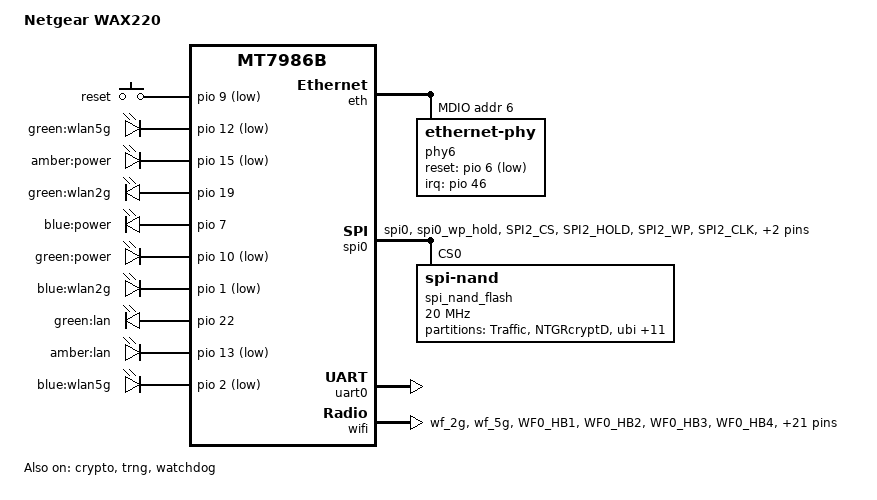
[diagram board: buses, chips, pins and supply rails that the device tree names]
// SPDX-License-Identifier: (GPL-2.0 OR MIT)

/dts-v1/;
#include <dt-bindings/input/input.h>
#include <dt-bindings/gpio/gpio.h>
#include <dt-bindings/leds/common.h>

#include "mt7986b.dtsi"

/ {
	#address-cells = <0x2>;
	#size-cells = <0x2>;
	model = "Netgear WAX220";
	compatible = "netgear,wax220", "mediatek,mt7986b-spim-snand-rfb";

	aliases {
		serial0 = &uart0;
		led-boot = &led_power_blue;
		led-failsafe = &led_power_amber;
		led-running = &led_power_green;
		led-upgrade = &led_power_amber;
	};

	gpio-keys {
		compatible = "gpio-keys";

		reset {
			gpios = <&pio 9 GPIO_ACTIVE_LOW>;
			linux,code = <KEY_RESTART>;
			label = "reset";
		};
	};

	chosen {
		stdout-path = "serial0:115200n8";
	};

	leds {
		compatible = "gpio-leds";

		wlan5g_green {
			gpios = <&pio 12 GPIO_ACTIVE_LOW>;
			label = "green:wlan5g";
		};

		led_power_amber: power_amber {
			gpios = <&pio 15 GPIO_ACTIVE_LOW>;
			label = "amber:power";
		};

		wlan2g_green {
			gpios = <&pio 19 GPIO_ACTIVE_HIGH>;
			label = "green:wlan2g";
		};

		led_power_blue: power_blue {
			gpios = <&pio 7 GPIO_ACTIVE_HIGH>;
			label = "blue:power";
		};

		led_power_green: power_green {
			gpios = <&pio 10 GPIO_ACTIVE_LOW>;
			label = "green:power";
		};

		wlan2g_blue {
			gpios = <&pio 1 GPIO_ACTIVE_LOW>;
			label = "blue:wlan2g";
		};

		lan_green {
			gpios = <&pio 22 GPIO_ACTIVE_HIGH>;
			label = "green:lan";
		};

		lan_amber {
			gpios = <&pio 13 GPIO_ACTIVE_LOW>;
			label = "amber:lan";
		};

		wlan5g_blue {
			gpios = <&pio 2 GPIO_ACTIVE_LOW>;
			label = "blue:wlan5g";
		};
	};
};

&crypto {
	status = "okay";
};

&eth {
	status = "okay";

	gmac1: mac@1 {
		compatible = "mediatek,eth-mac";
		reg = <1>;
		phy-handle = <&phy6>;
		phy-mode = "2500base-x";
	};

	mdio: mdio-bus {
		#address-cells = <1>;
		#size-cells = <0>;
	};
};

&mdio {
	#address-cells = <1>;
	#size-cells = <0>;
	phy6: ethernet-phy@6 {
		reg = <6>;
		reset-assert-us = <100000>;
		reset-deassert-us = <100000>;
		reset-gpios = <&pio 6 GPIO_ACTIVE_LOW>;
		interrupt-controller;
		#interrupt-cells = <1>;
		interrupt-parent = <&pio>;
		interrupts = <46 IRQ_TYPE_LEVEL_HIGH>;
	};
};


&pio {
	spi_flash_pins: spi-flash-pins-33-to-38 {
		mux {
			function = "spi";
			groups = "spi0", "spi0_wp_hold";
		};
		conf-pu {
			pins = "SPI2_CS", "SPI2_HOLD", "SPI2_WP";
			drive-strength = <8>;
			mediatek,pull-up-adv = <0>; /* bias-disable */
		};
		conf-pd {
			pins = "SPI2_CLK", "SPI2_MOSI", "SPI2_MISO";
			drive-strength = <8>;
			mediatek,pull-down-adv = <0>; /* bias-disable */
		};
	};

	wf_2g_5g_pins: wf_2g_5g-pins {
		mux {
			function = "wifi";
			groups = "wf_2g", "wf_5g";
		};
		conf {
			pins =  "WF0_HB1", "WF0_HB2", "WF0_HB3", "WF0_HB4",
				"WF0_HB0", "WF0_HB0_B", "WF0_HB5", "WF0_HB6",
				"WF0_HB7", "WF0_HB8", "WF0_HB9", "WF0_HB10",
				"WF0_TOP_CLK", "WF0_TOP_DATA", "WF1_HB1",
				"WF1_HB2", "WF1_HB3", "WF1_HB4", "WF1_HB0",
				"WF1_HB5", "WF1_HB6", "WF1_HB7", "WF1_HB8",
				"WF1_TOP_CLK", "WF1_TOP_DATA";
			drive-strength = <4>;
		};
	};

	wf_dbdc_pins: wf-dbdc-pins {
		mux {
			function = "wifi";
			groups = "wf_dbdc";
		};
		conf {
			pins = "WF0_HB1", "WF0_HB2", "WF0_HB3", "WF0_HB4",
			 "WF0_HB0", "WF0_HB0_B", "WF0_HB5", "WF0_HB6",
			 "WF0_HB7", "WF0_HB8", "WF0_HB9", "WF0_HB10",
			 "WF0_TOP_CLK", "WF0_TOP_DATA";
			drive-strength = <4>;
		};
	};
};

&spi0 {
	pinctrl-names = "default";
	pinctrl-0 = <&spi_flash_pins>;
	status = "okay";

	spi_nand_flash: flash@0 {
		#address-cells = <1>;
		#size-cells = <1>;
		compatible = "spi-nand";
		reg = <0>;

		spi-max-frequency = <20000000>;
		spi-tx-buswidth = <4>;
		spi-rx-buswidth = <4>;

		mediatek,nmbm;
		mediatek,bmt-max-ratio = <1>;
		mediatek,bmt-max-reserved-blocks = <256>;
		mediatek,bmt-remap-range = <0x0 0x580000>;

		partitions: partitions {
			#address-cells = <0x1>;
			#size-cells = <0x1>;
			compatible = "fixed-partitions";

			partition@5fc0000 {
				label = "Traffic";
				reg = <0x5fc0000 0x200000>;
			};

			partition@63c0000 {
				label = "NTGRcryptD";
				reg = <0x63c0000 0x500000>;
			};

			partition@580000 {
				label = "ubi";
				reg = <0x580000 0x5140000>;
			};

			factory: partition@180000 {
				label = "Factory";
				reg = <0x180000 0x200000>;
			};

			partition@69c0000 {
				label = "User_data";
				reg = <0x69c0000 0x640000>;
			};

			partition@100000 {
				label = "u-boot-env";
				reg = <0x100000 0x80000>;
			};

			partition@68c0000 {
				label = "LOG";
				reg = <0x68c0000 0x100000>;
			};

			partition@5ac0000 {
				label = "POT";
				reg = <0x5ac0000 0x100000>;
			};

			partition@0 {
				label = "BL2";
				read-only;
				reg = <0x0 0x100000>;
			};

			partition@5bc0000 {
				label = "Language";
				reg = <0x5bc0000 0x400000>;
			};

			partition@61c0000 {
				label = "Cert";
				reg = <0x61c0000 0x100000>;
			};

			partition@380000 {
				label = "FIP";
				reg = <0x380000 0x200000>;
			};

			partition@56c0000 {
				label = "RAE";
				reg = <0x56c0000 0x400000>;
			};

			partition@62c0000 {
				label = "NTGRcryptK";
				reg = <0x62c0000 0x100000>;
			};
		};
	};

};

&trng {
	status = "okay";
};

&uart0 {
	status = "okay";
};

&watchdog {
	status = "okay";
};

&wifi {
	status = "okay";
	pinctrl-names = "default", "dbdc";
	pinctrl-0 = <&wf_2g_5g_pins>;
	pinctrl-1 = <&wf_dbdc_pins>;

	mediatek,mtd-eeprom = <&factory 0x0>;
};
